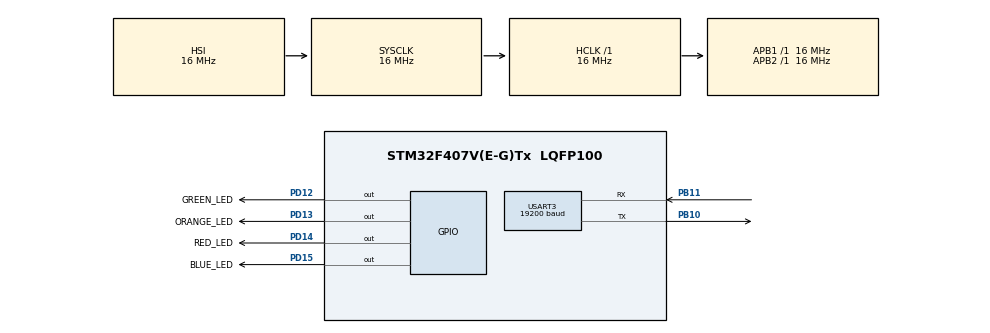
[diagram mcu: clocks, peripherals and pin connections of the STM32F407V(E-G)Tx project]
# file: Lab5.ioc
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Mcu.Family=STM32F4
Mcu.Name=STM32F407V(E-G)Tx
Mcu.Package=LQFP100
NVIC.PriorityGroup=NVIC_PRIORITYGROUP_4
PB10.Mode=Asynchronous
PB10.Signal=USART3_TX
PB11.Mode=Asynchronous
PB11.Signal=USART3_RX
PD12.GPIO_Label=GREEN_LED
PD12.Signal=GPIO_Output
PD13.GPIO_Label=ORANGE_LED
PD13.Signal=GPIO_Output
PD14.GPIO_Label=RED_LED
PD14.Signal=GPIO_Output
PD15.GPIO_Label=BLUE_LED
PD15.Signal=GPIO_Output
ProjectManager.HeapSize=0x200
ProjectManager.StackSize=0x400
ProjectManager.TargetToolchain=STM32CubeIDE
RCC.AHBFreq_Value=16000000
RCC.APB1Freq_Value=16000000
RCC.APB2Freq_Value=16000000
RCC.CortexFreq_Value=16000000
RCC.HSE_VALUE=25000000
RCC.HSI_VALUE=16000000
RCC.LSE_VALUE=32768
RCC.SYSCLKFreq_VALUE=16000000
RCC.VCOOutputFreq_Value=192000000
USART3.BaudRate=19200
USART3.VirtualMode=VM_ASYNC
board=custom

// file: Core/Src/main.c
/* USER CODE BEGIN Header */
/**
  ******************************************************************************
  * @file           : main.c
  * @brief          : Main program body
  ******************************************************************************
  * @attention
  *
  * Copyright (c) 2024 STMicroelectronics.
  * All rights reserved.
  *
  * This software is licensed under terms that can be found in the LICENSE file
  * in the root directory of this software component.
  * If no LICENSE file comes with this software, it is provided AS-IS.
  *
  ******************************************************************************
  */
/* USER CODE END Header */
#include "main.h"

UART_HandleTypeDef huart3;

void SystemClock_Config(void);
static void MX_GPIO_Init(void);
static void MX_USART3_UART_Init(void);

/* USER CODE BEGIN 0 */
void blue_switch() {
	HAL_GPIO_TogglePin(BLUE_LED_GPIO_Port, BLUE_LED_Pin);
	if (HAL_GPIO_ReadPin(BLUE_LED_GPIO_Port, BLUE_LED_Pin) != GPIO_PIN_RESET) {
		HAL_UART_Transmit(&huart3, (uint8_t *)" - Blue ON\r\n", 12, 100);
	} else {
		HAL_UART_Transmit(&huart3, (uint8_t *)" - Blue OFF\r\n", 13, 100);
	}
}

void red_switch() {
	HAL_GPIO_TogglePin(RED_LED_GPIO_Port, RED_LED_Pin);
	if (HAL_GPIO_ReadPin(RED_LED_GPIO_Port, RED_LED_Pin) != GPIO_PIN_RESET) {
		HAL_UART_Transmit(&huart3, (uint8_t *)" - Red ON\r\n", 11, 100);
	} else {
		HAL_UART_Transmit(&huart3, (uint8_t *)" - Red OFF\r\n", 12, 100);
	}
}

void orange_switch() {
	HAL_GPIO_TogglePin(ORANGE_LED_GPIO_Port, ORANGE_LED_Pin);
	if (HAL_GPIO_ReadPin(ORANGE_LED_GPIO_Port, ORANGE_LED_Pin) != GPIO_PIN_RESET) {
		HAL_UART_Transmit(&huart3, (uint8_t *)" - Orange ON\r\n", 14, 100);
	} else {
		HAL_UART_Transmit(&huart3, (uint8_t *)" - Orange OFF\r\n", 15, 100);
	}
}

void green_switch() {
	HAL_GPIO_TogglePin(GREEN_LED_GPIO_Port, GREEN_LED_Pin);
	if (HAL_GPIO_ReadPin(GREEN_LED_GPIO_Port, GREEN_LED_Pin) != GPIO_PIN_RESET) {
		HAL_UART_Transmit(&huart3, (uint8_t *)" - Green ON\r\n", 13, 100);
	} else {
		HAL_UART_Transmit(&huart3, (uint8_t *)" - Green OFF\r\n", 14, 100);
	}
}

void all_on()
{
	HAL_GPIO_WritePin(GREEN_LED_GPIO_Port, GREEN_LED_Pin, GPIO_PIN_SET);
	HAL_GPIO_WritePin(ORANGE_LED_GPIO_Port, ORANGE_LED_Pin, GPIO_PIN_SET);
	HAL_GPIO_WritePin(RED_LED_GPIO_Port, RED_LED_Pin, GPIO_PIN_SET);
	HAL_GPIO_WritePin(BLUE_LED_GPIO_Port, BLUE_LED_Pin, GPIO_PIN_SET);
	HAL_UART_Transmit(&huart3, (uint8_t *)" - All ON\r\n", 11, 100);
}

void all_off()
{
	HAL_GPIO_WritePin(GREEN_LED_GPIO_Port, GREEN_LED_Pin, GPIO_PIN_RESET);
	HAL_GPIO_WritePin(ORANGE_LED_GPIO_Port, ORANGE_LED_Pin, GPIO_PIN_RESET);
	HAL_GPIO_WritePin(RED_LED_GPIO_Port, RED_LED_Pin, GPIO_PIN_RESET);
	HAL_GPIO_WritePin(BLUE_LED_GPIO_Port, BLUE_LED_Pin, GPIO_PIN_RESET);
	HAL_UART_Transmit(&huart3, (uint8_t *)" - All OFF\r\n", 12, 100);
}
/* USER CODE END 0 */

int main(void)
{

  /* MCU Configuration--------------------------------------------------------*/

  /* Reset of all peripherals, Initializes the Flash interface and the Systick. */
  HAL_Init();

  /* Configure the system clock */
  SystemClock_Config();

  /* Initialize all configured peripherals */
  MX_GPIO_Init();
  MX_USART3_UART_Init();

  /* Infinite loop */
  /* USER CODE BEGIN WHILE */
  while (1)
  {
	  uint8_t rcvBuf[1];
	  HAL_StatusTypeDef result;

	  result = HAL_UART_Receive(&huart3, rcvBuf, 1, 10);

	  if (result == HAL_OK) {
		switch (rcvBuf[0]) {
			case 'b':
				blue_switch();
				break;
			case 'r':
				red_switch();
				break;
			case 'o':
				orange_switch();
				break;
			case 'g':
				green_switch();
				break;
			case '1':
				all_on();
				break;
			case '0':
				all_off();
				break;
			default:
				HAL_UART_Transmit(&huart3, (uint8_t *)" - Unexpected Command\r\n", 23, 100);
				break;
		}
	}
    /* USER CODE END WHILE */

  }
}

void SystemClock_Config(void)
{
  RCC_OscInitTypeDef RCC_OscInitStruct = {0};
  RCC_ClkInitTypeDef RCC_ClkInitStruct = {0};

  /** Configure the main internal regulator output voltage
  */
  __HAL_RCC_PWR_CLK_ENABLE();
  __HAL_PWR_VOLTAGESCALING_CONFIG(PWR_REGULATOR_VOLTAGE_SCALE1);

  /** Initializes the RCC Oscillators according to the specified parameters
  * in the RCC_OscInitTypeDef structure.
  */
  RCC_OscInitStruct.OscillatorType = RCC_OSCILLATORTYPE_HSI;
  RCC_OscInitStruct.HSIState = RCC_HSI_ON;
  RCC_OscInitStruct.HSICalibrationValue = RCC_HSICALIBRATION_DEFAULT;
  RCC_OscInitStruct.PLL.PLLState = RCC_PLL_NONE;
  if (HAL_RCC_OscConfig(&RCC_OscInitStruct) != HAL_OK)
  {
    Error_Handler();
  }

  /** Initializes the CPU, AHB and APB buses clocks
  */
  RCC_ClkInitStruct.ClockType = RCC_CLOCKTYPE_HCLK|RCC_CLOCKTYPE_SYSCLK
                              |RCC_CLOCKTYPE_PCLK1|RCC_CLOCKTYPE_PCLK2;
  RCC_ClkInitStruct.SYSCLKSource = RCC_SYSCLKSOURCE_HSI;
  RCC_ClkInitStruct.AHBCLKDivider = RCC_SYSCLK_DIV1;
  RCC_ClkInitStruct.APB1CLKDivider = RCC_HCLK_DIV1;
  RCC_ClkInitStruct.APB2CLKDivider = RCC_HCLK_DIV1;

  if (HAL_RCC_ClockConfig(&RCC_ClkInitStruct, FLASH_LATENCY_0) != HAL_OK)
  {
    Error_Handler();
  }
}

static void MX_USART3_UART_Init(void)
{

  huart3.Instance = USART3;
  huart3.Init.BaudRate = 19200;
  huart3.Init.WordLength = UART_WORDLENGTH_8B;
  huart3.Init.StopBits = UART_STOPBITS_1;
  huart3.Init.Parity = UART_PARITY_NONE;
  huart3.Init.Mode = UART_MODE_TX_RX;
  huart3.Init.HwFlowCtl = UART_HWCONTROL_NONE;
  huart3.Init.OverSampling = UART_OVERSAMPLING_16;
  if (HAL_UART_Init(&huart3) != HAL_OK)
  {
    Error_Handler();
  }

}

static void MX_GPIO_Init(void)
{
  GPIO_InitTypeDef GPIO_InitStruct = {0};

  /* GPIO Ports Clock Enable */
  __HAL_RCC_GPIOB_CLK_ENABLE();
  __HAL_RCC_GPIOD_CLK_ENABLE();

  /*Configure GPIO pin Output Level */
  HAL_GPIO_WritePin(GPIOD, GREEN_LED_Pin|ORANGE_LED_Pin|RED_LED_Pin|BLUE_LED_Pin, GPIO_PIN_RESET);

  /*Configure GPIO pins : GREEN_LED_Pin ORANGE_LED_Pin RED_LED_Pin BLUE_LED_Pin */
  GPIO_InitStruct.Pin = GREEN_LED_Pin|ORANGE_LED_Pin|RED_LED_Pin|BLUE_LED_Pin;
  GPIO_InitStruct.Mode = GPIO_MODE_OUTPUT_PP;
  GPIO_InitStruct.Pull = GPIO_NOPULL;
  GPIO_InitStruct.Speed = GPIO_SPEED_FREQ_LOW;
  HAL_GPIO_Init(GPIOD, &GPIO_InitStruct);

}

void Error_Handler(void)
{
  __disable_irq();
  while (1)
  {
  }
}
